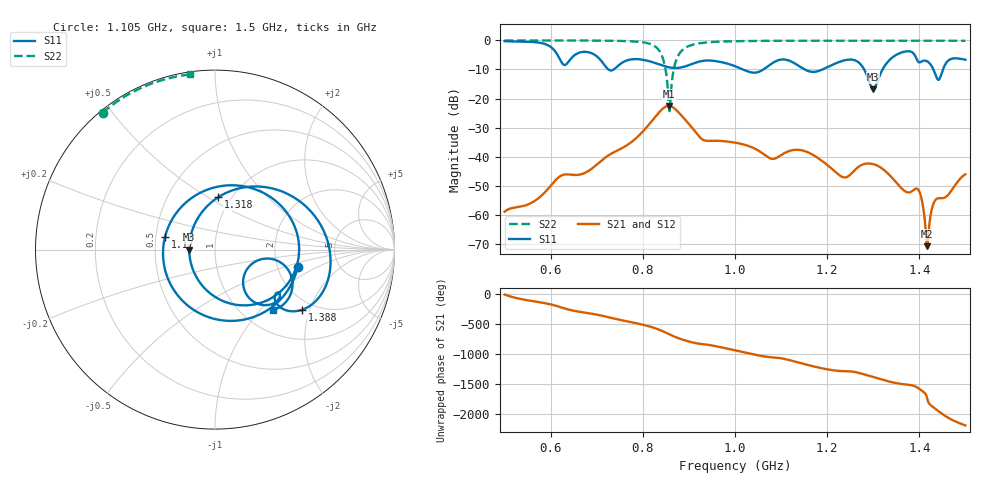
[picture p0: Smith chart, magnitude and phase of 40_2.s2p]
! TOUCHSTONE file generated by CST MICROWAVE STUDIO
! Date and time: Thu Feb 18 07:39:30 2021
! Project name: Scenario_1_Planar_Body_Tissue_Out_of_Line.cst
! Parameters = {L_HA=400; Ltissue=1000; MT=2.54; Rad_Dielectric=30; Rad_Lower=7.3; Rad_Upper=30; Wtissue=1000; a_HA=580; a_WG=246; b_HA=500; b_WG=121; c_HA=0; c_WG=187; d_feed=85; dx1=346; dy1=328.7; h_feed=15; h_lower=18; h_upper=40; hfat=3; hgap=25; hmuscle=50; hskin=1.5}
! Header version: 2018
! Port assignment regex: !\s*Touchstone port\s*([0-9]+)\s*=\s*(CST MWS port|CST DS port)\s*([0-9]+|Zmin|Zmax)\s*\(\"(.*)\"\)(\s*mode\s*([0-9]+))?.*
! Touchstone port assignment:
! Touchstone port 1 = CST MWS port 1 ("")
! Touchstone port 2 = CST MWS port 2 ("")
# GHz S DB R 50
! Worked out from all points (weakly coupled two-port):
!   1003 points, 500 MHz to 1.5 GHz, reference 50 ohm
!   highest |S21| = -22.53 dB at 856 MHz (marker M1); lowest = -70.8 dB at 1.417 GHz (marker M2)
!   lowest |S11| = -16.8 dB at 1.3 GHz (marker M3), VSWR 1.34, Z = 37.4 + j0.00326 ohm
!   |S11| at or under -10 dB: 1.017 GHz to 1.062 GHz (44.47 MHz wide, 4.28 % of centre); 1.151 GHz to 1.19 GHz (38.48 MHz wide, 3.29 % of centre); 1.28 GHz to 1.32 GHz (39.98 MHz wide, 3.07 % of centre) (the widest 3 of 5)
!   |S22| runs from -24.4 to 0.0 dB; largest |S21 - S12| = 1.3e-05
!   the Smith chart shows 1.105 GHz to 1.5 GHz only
!   S11 on the Smith chart (normalised r, x): 1.105 GHz: 2.60, -0.63; 1.17 GHz: 0.56, +0.09; 1.318 GHz: 0.87, +0.56; 1.388 GHz: 1.72, -1.77; 1.5 GHz: 1.37, -1.17
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0.5  -0.25 -121.7  -58.95 -4.2  -58.95 -4.2  -0.01 151.1
0.667  -4.01 158.3  -46.03 61.6  -46.03 61.6  -0.04 138.4
0.718  -8.74 27.4  -40.38 -10.5  -40.38 -10.5  -0.09 132.6
0.743  -9.18 -99.9  -38.03 -55.8  -38.03 -55.8  -0.14 128.8
0.772  -6.60 174.6  -35.37 -102.7  -35.37 -102.7  -0.28 122.7
0.834  -8.17 40.0  -24.99 131.5  -24.99 131.5  -3.20 83.3
0.856  -9.23 -16.7  -22.53 56.1  -22.53 56.1  -20.99 3.0
0.908  -8.03 -178.4  -30.29 -86.9  -30.29 -86.8  -1.48 163.5
0.939  -6.91 84.9  -34.58 -123.0  -34.58 -123.0  -0.68 151.9
1  -8.86 -62.0  -35.19 142.5  -35.19 142.5  -0.27 140.3
1.048  -10.99 165.5  -37.67 61.0  -37.67 61.0  -0.18 134.7
1.078  -8.14 68.6  -40.68 26.4  -40.68 26.4  -0.14 131.8
1.105  -6.54 -11.6  -39.01 1.2  -39.01 1.2  -0.12 129.3
1.167  -10.81 174.3  -39.21 -120.9  -39.21 -120.9  -0.10 124.2
1.17  -10.83 165.7  -39.48 -126.5  -39.48 -126.5  -0.10 124.0
1.249  -6.58 3.0  -46.37 150.6  -46.37 150.6  -0.09 118.0
1.3  -16.85 180.0  -42.59 54.2  -42.59 54.2  -0.08 114.1
1.318  -10.69 86.5  -43.96 13.3  -43.96 13.3  -0.09 112.8
1.334  -6.96 50.7  -46.13 -20.0  -46.13 -20.0  -0.09 111.6
1.388  -4.59 -34.7  -51.45 -92.6  -51.45 -92.5  -0.09 107.4
1.417  -7.19 -44.2  -70.83 56.2  -70.83 56.3  -0.10 105.1
1.5  -6.64 -46.1  -46.11 -36.1  -46.11 -36.1  -0.13 98.0
